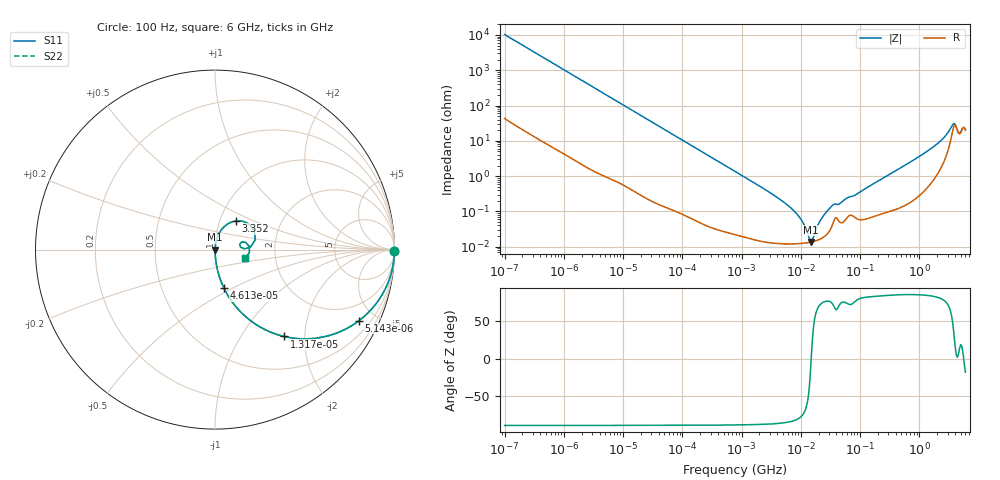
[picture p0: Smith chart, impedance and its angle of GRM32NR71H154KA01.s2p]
!Murata Part Number: GRM32NR71H154KA01
!These Parameters are Measured in Series Mode Connection
!Data Generated on Mar 30, 2021
!  o--ll--o
!Port1  Port2
!  o------o
!Operation Temp=25[degC], DC Bias Voltage=0[V]
!Freq. Start=100[Hz] Stop=6[GHz] 401[Steps]
# Hz S RI R 50
!Freq.(Hz) S11(Real) S11(Imag) S21(Real) S21(Imag) S12(Real) S12(Imag) S22(Real) S22(Imag)
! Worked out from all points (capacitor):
!   401 points, 100 Hz to 6 GHz, reference 50 ohm
!   read as one part in series: C = 155 nF near 109 Hz
!   lowest |Z| = 13.6 mohm at 14.88 MHz (marker M1)
!   series resonance near 14.98 MHz, so ESL is about 730 pH
!   S11 on the Smith chart (normalised r, x): 100 Hz: open; 5.143 kHz: 1.02, -4.04; 13.17 kHz: 1.01, -1.58; 46.13 kHz: 1.00, -0.45; 3.352 GHz: 1.19, +0.40; 6 GHz: 1.40, -0.13
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100  0.9999 -0.00972  0.000135 0.00972  0.000135 0.00972  0.9999 -0.00972
600  0.9964 -0.0578  0.00358 0.0578  0.00358 0.0578  0.9964 -0.0578
2008  0.9631 -0.1864  0.0369 0.1864  0.0369 0.1864  0.9631 -0.1864
5143  0.8021 -0.3961  0.1979 0.3961  0.1979 0.3961  0.8021 -0.3961
13169  0.3858 -0.4841  0.6142 0.4841  0.6142 0.4841  0.3858 -0.4841
22537  0.1781 -0.3799  0.8219 0.3799  0.8219 0.3799  0.1781 -0.3799
40335  0.0643 -0.2423  0.9357 0.2423  0.9357 0.2423  0.0643 -0.2423
46134  0.0501 -0.2151  0.9499 0.2151  0.9499 0.2151  0.0501 -0.2151
141303  0.00613 -0.0739  0.9939 0.0739  0.9939 0.0739  0.00613 -0.0739
774597  0.000406 -0.0136  0.9996 0.0136  0.9996 0.0136  0.000406 -0.0136
6644369  0.000122 -0.00129  0.9999 0.00129  0.9999 0.00129  0.000122 -0.00129
9941735  0.000124 -0.000604  0.9999 0.000604  0.9999 0.000604  0.000124 -0.000604
1.487547e7  0.000136 -1.01e-05  0.9999 1.01e-05  0.9999 1.01e-05  0.000136 -1.01e-05
1.555665e7  0.000138 5.45e-05  0.9999 -5.45e-05  0.9999 -5.45e-05  0.000138 5.45e-05
2.128304e7  0.000165 0.000525  0.9998 -0.000525  0.9998 -0.000525  0.000165 0.000525
3.330331e7  0.000376 0.00137  0.9996 -0.00137  0.9996 -0.00137  0.000376 0.00137
3.124326e8  0.00111 0.011  0.9989 -0.011  0.9989 -0.011  0.00111 0.011
1.637704e9  0.0106 0.0617  0.9894 -0.0617  0.9894 -0.0617  0.0106 0.0617
3.352442e9  0.1173 0.1602  0.8827 -0.1602  0.8827 -0.1602  0.1173 0.1602
3.8344e9  0.2191 0.1071  0.7809 -0.1071  0.7809 -0.1071  0.2191 0.1071
4.796499e9  0.1375 0.0298  0.8625 -0.0298  0.8625 -0.0298  0.1375 0.0298
6e9  0.1687 -0.0459  0.8313 0.0459  0.8313 0.0459  0.1687 -0.0459
